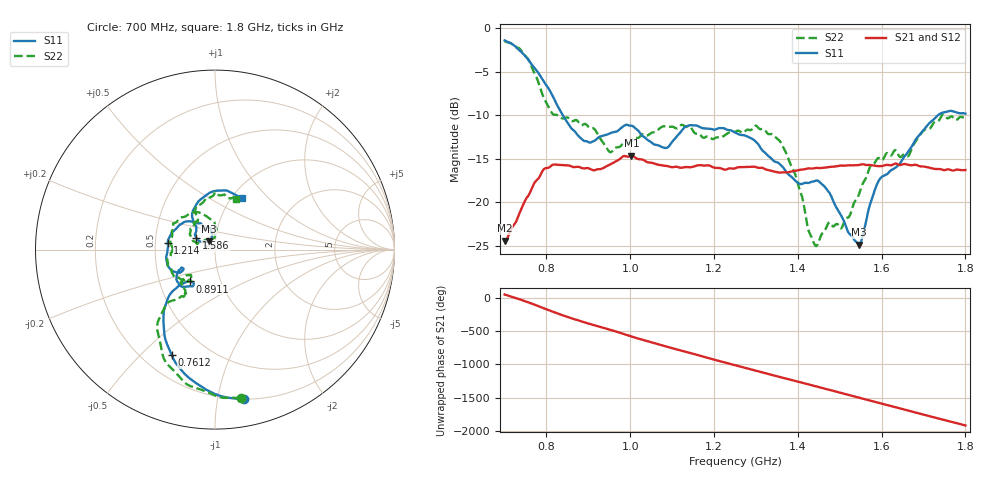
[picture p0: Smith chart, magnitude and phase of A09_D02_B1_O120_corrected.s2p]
! Created with skrf 1.9.0 (http://scikit-rf.org).
# Hz S RI R 50.0
!freq ReS11 ImS11 ReS21 ImS21 ReS12 ImS12 ReS22 ImS22
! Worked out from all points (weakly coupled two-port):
!   1601 points, 700 MHz to 1.8 GHz, reference 50 ohm
!   highest |S21| = -14.66 dB at 1.002 GHz (marker M1); lowest = -24.4 dB at 700.7 MHz (marker M2)
!   lowest |S11| = -24.9 dB at 1.546 GHz (marker M3), VSWR 1.12, Z = 46.5 + j4.23 ohm
!   |S11| at or under -10 dB: 839 MHz to 1.734 GHz (895.3 MHz wide, 69.6 % of centre)
!   |S22| runs from -25.0 to -1.5 dB; largest |S21 - S12| = 0.0035
!   S11 on the Smith chart (normalised r, x): 700 MHz: 0.20, -1.19; 761.2 MHz: 0.32, -0.62; 891.1 MHz: 0.72, -0.27; 1.214 GHz: 0.58, +0.05; 1.586 GHz: 0.81, +0.11; 1.8 GHz: 1.11, +0.71
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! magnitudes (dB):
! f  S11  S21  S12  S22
! 700 MHz  -1.4  -24.4  -24.2  -1.5
! 700.7 MHz  -1.4  -24.4  -24.1  -1.5
! 761.2 MHz  -3.9  -18.8  -18.7  -4.0
! 813.4 MHz  -7.7  -15.7  -15.7  -9.8
! 883.6 MHz  -12.7  -16.1  -15.9  -11.1
! 891.1 MHz  -13.0  -16.1  -16.1  -11.0
! 951.6 MHz  -12.1  -15.7  -15.7  -14.2
! 1.002 GHz  -11.2  -14.7  -14.8  -13.0
! 1.067 GHz  -13.5  -15.7  -15.6  -11.6
! 1.139 GHz  -11.2  -16.0  -15.9  -11.2
! 1.214 GHz  -11.5  -16.1  -16.0  -12.6
! 1.25 GHz  -12.0  -16.1  -16.0  -11.9
! 1.358 GHz  -15.7  -16.6  -16.5  -13.0
! 1.394 GHz  -17.5  -16.4  -16.4  -16.9
! 1.434 GHz  -17.6  -16.1  -16.1  -24.1
! 1.504 GHz  -21.6  -15.8  -15.8  -22.9
! 1.546 GHz  -24.9  -15.7  -15.7  -19.0
! 1.586 GHz  -18.3  -15.8  -15.8  -15.3
! 1.617 GHz  -16.6  -15.7  -15.7  -14.5
! 1.663 GHz  -14.2  -15.7  -15.7  -14.7
! 1.736 GHz  -9.9  -16.2  -16.2  -10.6
! 1.8 GHz  -9.8  -16.3  -16.3  -10.3
